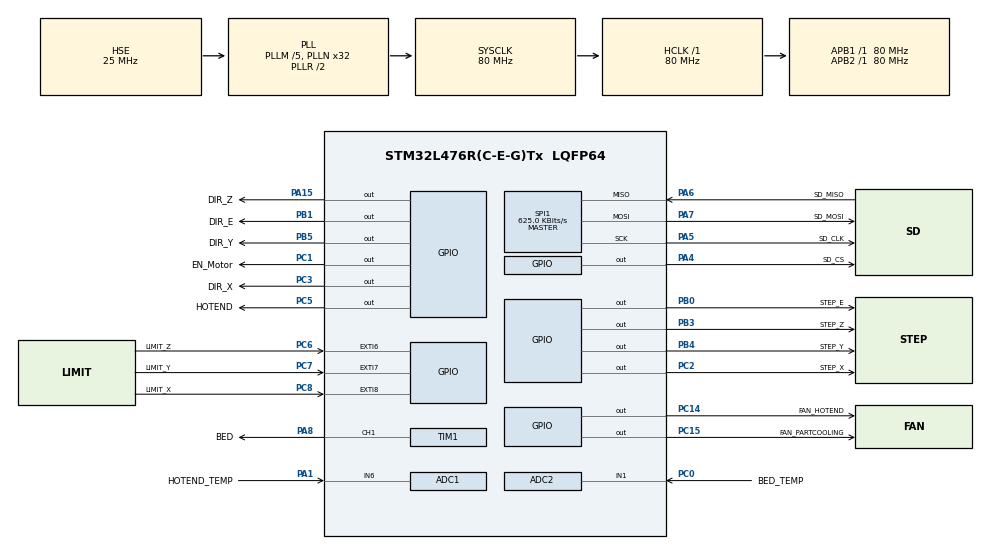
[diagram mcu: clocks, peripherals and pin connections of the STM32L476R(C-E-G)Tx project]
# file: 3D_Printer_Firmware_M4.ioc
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ADC1.Channel-1\#ChannelRegularConversion=ADC_CHANNEL_6
ADC1.ClockPrescaler=ADC_CLOCK_ASYNC_DIV4
ADC1.NbrOfConversionFlag=1
ADC1.OffsetNumber-1\#ChannelRegularConversion=ADC_OFFSET_NONE
ADC1.Rank-1\#ChannelRegularConversion=1
ADC1.SamplingTime-1\#ChannelRegularConversion=ADC_SAMPLETIME_2CYCLES_5
ADC1.master=1
ADC2.Channel-0\#ChannelRegularConversion=ADC_CHANNEL_1
ADC2.ClockPrescaler=ADC_CLOCK_ASYNC_DIV4
ADC2.NbrOfConversionFlag=1
ADC2.OffsetNumber-0\#ChannelRegularConversion=ADC_OFFSET_NONE
ADC2.Rank-0\#ChannelRegularConversion=1
ADC2.SamplingTime-0\#ChannelRegularConversion=ADC_SAMPLETIME_2CYCLES_5
FREERTOS.INCLUDE_xEventGroupSetBitFromISR=1
FREERTOS.INCLUDE_xTimerPendFunctionCall=1
FREERTOS.Tasks01=defaultTask,0,8192,StartDefaultTask,Default,NULL,Dynamic,NULL,NULL
FREERTOS.configENABLE_FPU=1
FREERTOS.configMAX_TASK_NAME_LEN=32
FREERTOS.configTOTAL_HEAP_SIZE=65536
FREERTOS.configUSE_NEWLIB_REENTRANT=1
FREERTOS.configUSE_TIMERS=1
Mcu.Family=STM32L4
Mcu.Name=STM32L476R(C-E-G)Tx
Mcu.Package=LQFP64
NVIC.EXTI9_5_IRQn=true\:6\:0\:true\:false\:true\:true\:true\:true\:true
NVIC.PriorityGroup=NVIC_PRIORITYGROUP_4
NVIC.TIM1_BRK_TIM15_IRQn=true\:6\:0\:true\:false\:true\:true\:true\:true\:true
NVIC.TIM1_CC_IRQn=true\:6\:0\:true\:false\:true\:true\:true\:true\:true
NVIC.TIM1_UP_TIM16_IRQn=true\:5\:0\:true\:false\:true\:true\:true\:true\:true
NVIC.TIM3_IRQn=true\:6\:0\:true\:false\:true\:true\:true\:true\:true
NVIC.TIM4_IRQn=true\:6\:0\:true\:false\:true\:true\:true\:true\:true
NVIC.TIM5_IRQn=true\:6\:0\:true\:false\:true\:true\:true\:true\:true
NVIC.TIM7_IRQn=true\:15\:0\:true\:false\:true\:false\:false\:true\:true
NVIC.TimeBase=TIM7_IRQn
NVIC.TimeBaseIP=TIM7
PA1.GPIO_Label=HOTEND_TEMP
PA1.Signal=ADCx_IN6
PA13\ (JTMS-SWDIO).Mode=Serial_Wire
PA13\ (JTMS-SWDIO).Signal=SYS_JTMS-SWDIO
PA14\ (JTCK-SWCLK).Mode=Serial_Wire
PA14\ (JTCK-SWCLK).Signal=SYS_JTCK-SWCLK
PA15\ (JTDI).GPIO_Label=DIR_Z
PA15\ (JTDI).Signal=GPIO_Output
PA4.GPIO_Label=SD_CS
PA4.Signal=GPIO_Output
PA5.GPIO_Label=SD_CLK
PA5.Mode=Full_Duplex_Master
PA5.Signal=SPI1_SCK
PA6.GPIO_Label=SD_MISO
PA6.Mode=Full_Duplex_Master
PA6.Signal=SPI1_MISO
PA7.GPIO_Label=SD_MOSI
PA7.Mode=Full_Duplex_Master
PA7.Signal=SPI1_MOSI
PA8.GPIO_Label=BED
PA8.Signal=S_TIM1_CH1
PB0.GPIO_Label=STEP_E
PB0.GPIO_Speed=GPIO_SPEED_FREQ_HIGH
PB0.Signal=GPIO_Output
PB1.GPIO_Label=DIR_E
PB1.Signal=GPIO_Output
PB3\ (JTDO-TRACESWO).GPIO_Label=STEP_Z
PB3\ (JTDO-TRACESWO).GPIO_Speed=GPIO_SPEED_FREQ_HIGH
PB3\ (JTDO-TRACESWO).Signal=GPIO_Output
PB4\ (NJTRST).GPIO_Label=STEP_Y
PB4\ (NJTRST).GPIO_Speed=GPIO_SPEED_FREQ_HIGH
PB4\ (NJTRST).Signal=GPIO_Output
PB5.GPIO_Label=DIR_Y
PB5.Signal=GPIO_Output
PC0.GPIO_Label=BED_TEMP
PC0.Signal=ADCx_IN1
PC1.GPIO_Label=EN_Motor
PC1.GPIO_PuPd=GPIO_PULLUP
PC1.PinState=GPIO_PIN_SET
PC1.Signal=GPIO_Output
PC14-OSC32_IN\ (PC14).GPIO_Label=FAN_HOTEND
PC14-OSC32_IN\ (PC14).Signal=GPIO_Output
PC15-OSC32_OUT\ (PC15).GPIO_Label=FAN_PARTCOOLING
PC15-OSC32_OUT\ (PC15).Signal=GPIO_Output
PC2.GPIO_Label=STEP_X
PC2.GPIO_Speed=GPIO_SPEED_FREQ_HIGH
PC2.Signal=GPIO_Output
PC3.GPIO_Label=DIR_X
PC3.Signal=GPIO_Output
PC5.GPIO_Label=HOTEND
PC5.Signal=GPIO_Output
PC6.GPIO_Label=LIMIT_Z
PC6.GPIO_ModeDefaultEXTI=GPIO_MODE_IT_FALLING
PC6.Signal=GPXTI6
PC7.GPIO_Label=LIMIT_Y
PC7.GPIO_ModeDefaultEXTI=GPIO_MODE_IT_FALLING
PC7.Signal=GPXTI7
PC8.GPIO_Label=LIMIT_X
PC8.GPIO_ModeDefaultEXTI=GPIO_MODE_IT_FALLING
PC8.Signal=GPXTI8
PH0-OSC_IN\ (PH0).Mode=HSE-External-Oscillator
PH0-OSC_IN\ (PH0).Signal=RCC_OSC_IN
PH1-OSC_OUT\ (PH1).Mode=HSE-External-Oscillator
PH1-OSC_OUT\ (PH1).Signal=RCC_OSC_OUT
ProjectManager.HeapSize=0x200
ProjectManager.StackSize=0x400
ProjectManager.TargetToolchain=STM32CubeIDE
RCC.ADCFreq_Value=32500000
RCC.AHBFreq_Value=80000000
RCC.APB1Freq_Value=80000000
RCC.APB1TimFreq_Value=80000000
RCC.APB2Freq_Value=80000000
RCC.APB2TimFreq_Value=80000000
RCC.CortexFreq_Value=80000000
RCC.HCLKFreq_Value=80000000
RCC.HSE_VALUE=25000000
RCC.HSI_VALUE=16000000
RCC.LSE_VALUE=32768
RCC.MSI_VALUE=4000000
RCC.PLLM=5
RCC.PLLN=32
RCC.PLLSAI1N=13
RCC.PLLSourceVirtual=RCC_PLLSOURCE_HSE
RCC.SYSCLKFreq_VALUE=80000000
RCC.SYSCLKSource=RCC_SYSCLKSOURCE_PLLCLK
RCC.USBFreq_Value=32500000
RCC.VCOOutputFreq_Value=160000000
SH.ADCx_IN1.0=ADC2_IN1,IN1-Single-Ended
SH.ADCx_IN6.0=ADC1_IN6,IN6-Single-Ended
SH.S_TIM1_CH1.0=TIM1_CH1,PWM Generation1 CH1
SPI1.BaudRatePrescaler=SPI_BAUDRATEPRESCALER_128
SPI1.CalculateBaudRate=625.0 KBits/s
SPI1.DataSize=SPI_DATASIZE_8BIT
SPI1.Direction=SPI_DIRECTION_2LINES
SPI1.Mode=SPI_MODE_MASTER
SPI1.VirtualType=VM_MASTER
TIM1.Channel-PWM\ Generation1\ CH1=TIM_CHANNEL_1
TIM1.Period=1000 - 1
TIM1.Prescaler=8000 - 1
TIM16.Channel=TIM_CHANNEL_1
TIM16.Period=4000 - 1
TIM3.Channel-PWM\ Generation1\ No\ Output=TIM_CHANNEL_1
TIM3.Period=1000 - 1
TIM3.Prescaler=80 - 1
TIM4.Channel-PWM\ Generation1\ No\ Output=TIM_CHANNEL_1
TIM4.Prescaler=1
TIM5.Channel-PWM\ Generation1\ No\ Output=TIM_CHANNEL_1
TIM5.Period=1000 - 1
TIM5.Prescaler=8000 - 1
VP_FATFS_VS_Generic.Mode=User_defined
VP_FREERTOS_VS_CMSIS_V1.Mode=CMSIS_V1
VP_SYS_VS_tim7.Mode=TIM7
VP_TIM16_VS_ClockSourceINT.Mode=Enable_Timer
VP_TIM16_VS_no_output1.Mode=Output Compare1 No Output
VP_TIM3_VS_no_output1.Mode=PWM Generation1 No Output
VP_TIM4_VS_no_output1.Mode=PWM Generation1 No Output
VP_TIM5_VS_no_output1.Mode=PWM Generation1 No Output
VP_TIM6_VS_ClockSourceINT.Mode=Enable_Timer
board=custom

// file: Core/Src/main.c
/* USER CODE BEGIN Header */
/**
  ******************************************************************************
  * @file           : main.c
  * @brief          : Main program body
  ******************************************************************************
  * @attention
  *
  * Copyright (c) 2023 STMicroelectronics.
  * All rights reserved.
  *
  * This software is licensed under terms that can be found in the LICENSE file
  * in the root directory of this software component.
  * If no LICENSE file comes with this software, it is provided AS-IS.
  *
  ******************************************************************************
  */
/* USER CODE END Header */
#include "main.h"
#include "cmsis_os.h"
#include "fatfs.h"

/* USER CODE BEGIN Includes */
#include <cpp_callback_wrap.h>
#include "FreeRTOS.h"
#include "task_creator.h"
/* USER CODE END Includes */

ADC_HandleTypeDef hadc1;
ADC_HandleTypeDef hadc2;

SPI_HandleTypeDef hspi1;

TIM_HandleTypeDef htim1;
TIM_HandleTypeDef htim3;
TIM_HandleTypeDef htim4;
TIM_HandleTypeDef htim5;
TIM_HandleTypeDef htim6;
TIM_HandleTypeDef htim16;

osThreadId defaultTaskHandle;

void SystemClock_Config(void);
void PeriphCommonClock_Config(void);
static void MX_GPIO_Init(void);
static void MX_ADC1_Init(void);
static void MX_ADC2_Init(void);
static void MX_SPI1_Init(void);
static void MX_TIM4_Init(void);
static void MX_TIM1_Init(void);
static void MX_TIM6_Init(void);
static void MX_TIM5_Init(void);
static void MX_TIM16_Init(void);
static void MX_TIM3_Init(void);
void StartDefaultTask(void const * argument);

/* USER CODE BEGIN 0 */
extern EventGroupHandle_t event_test;
/* USER CODE END 0 */

int main(void)
{

  /* MCU Configuration--------------------------------------------------------*/

  /* Reset of all peripherals, Initializes the Flash interface and the Systick. */
  HAL_Init();

  /* Configure the system clock */
  SystemClock_Config();

/* Configure the peripherals common clocks */
  PeriphCommonClock_Config();

  /* Initialize all configured peripherals */
  MX_GPIO_Init();
  MX_FATFS_Init();
  MX_ADC1_Init();
  MX_ADC2_Init();
  MX_SPI1_Init();
  MX_TIM4_Init();
  MX_TIM1_Init();
  MX_TIM6_Init();
  MX_TIM5_Init();
  MX_TIM16_Init();
  MX_TIM3_Init();

  /* Create the thread(s) */
  /* definition and creation of defaultTask */
  osThreadDef(defaultTask, StartDefaultTask, osPriorityNormal, 0, 8192);
  defaultTaskHandle = osThreadCreate(osThread(defaultTask), NULL);

  /* Start scheduler */
  osKernelStart();
  /* We should never get here as control is now taken by the scheduler */
  /* Infinite loop */
  while (1)
  {

  }
}

void SystemClock_Config(void)
{
  RCC_OscInitTypeDef RCC_OscInitStruct = {0};
  RCC_ClkInitTypeDef RCC_ClkInitStruct = {0};

  /** Configure the main internal regulator output voltage
  */
  if (HAL_PWREx_ControlVoltageScaling(PWR_REGULATOR_VOLTAGE_SCALE1) != HAL_OK)
  {
    Error_Handler();
  }

  /** Initializes the RCC Oscillators according to the specified parameters
  * in the RCC_OscInitTypeDef structure.
  */
  RCC_OscInitStruct.OscillatorType = RCC_OSCILLATORTYPE_HSE;
  RCC_OscInitStruct.HSEState = RCC_HSE_ON;
  RCC_OscInitStruct.PLL.PLLState = RCC_PLL_ON;
  RCC_OscInitStruct.PLL.PLLSource = RCC_PLLSOURCE_HSE;
  RCC_OscInitStruct.PLL.PLLM = 5;
  RCC_OscInitStruct.PLL.PLLN = 32;
  RCC_OscInitStruct.PLL.PLLP = RCC_PLLP_DIV7;
  RCC_OscInitStruct.PLL.PLLQ = RCC_PLLQ_DIV2;
  RCC_OscInitStruct.PLL.PLLR = RCC_PLLR_DIV2;
  if (HAL_RCC_OscConfig(&RCC_OscInitStruct) != HAL_OK)
  {
    Error_Handler();
  }

  /** Initializes the CPU, AHB and APB buses clocks
  */
  RCC_ClkInitStruct.ClockType = RCC_CLOCKTYPE_HCLK|RCC_CLOCKTYPE_SYSCLK
                              |RCC_CLOCKTYPE_PCLK1|RCC_CLOCKTYPE_PCLK2;
  RCC_ClkInitStruct.SYSCLKSource = RCC_SYSCLKSOURCE_PLLCLK;
  RCC_ClkInitStruct.AHBCLKDivider = RCC_SYSCLK_DIV1;
  RCC_ClkInitStruct.APB1CLKDivider = RCC_HCLK_DIV1;
  RCC_ClkInitStruct.APB2CLKDivider = RCC_HCLK_DIV1;

  if (HAL_RCC_ClockConfig(&RCC_ClkInitStruct, FLASH_LATENCY_4) != HAL_OK)
  {
    Error_Handler();
  }
}

void PeriphCommonClock_Config(void)
{
  RCC_PeriphCLKInitTypeDef PeriphClkInit = {0};

  /** Initializes the peripherals clock
  */
  PeriphClkInit.PeriphClockSelection = RCC_PERIPHCLK_ADC;
  PeriphClkInit.AdcClockSelection = RCC_ADCCLKSOURCE_PLLSAI1;
  PeriphClkInit.PLLSAI1.PLLSAI1Source = RCC_PLLSOURCE_HSE;
  PeriphClkInit.PLLSAI1.PLLSAI1M = 5;
  PeriphClkInit.PLLSAI1.PLLSAI1N = 13;
  PeriphClkInit.PLLSAI1.PLLSAI1P = RCC_PLLP_DIV7;
  PeriphClkInit.PLLSAI1.PLLSAI1Q = RCC_PLLQ_DIV2;
  PeriphClkInit.PLLSAI1.PLLSAI1R = RCC_PLLR_DIV2;
  PeriphClkInit.PLLSAI1.PLLSAI1ClockOut = RCC_PLLSAI1_ADC1CLK;
  if (HAL_RCCEx_PeriphCLKConfig(&PeriphClkInit) != HAL_OK)
  {
    Error_Handler();
  }
}

static void MX_ADC1_Init(void)
{

  ADC_MultiModeTypeDef multimode = {0};
  ADC_ChannelConfTypeDef sConfig = {0};

  /** Common config
  */
  hadc1.Instance = ADC1;
  hadc1.Init.ClockPrescaler = ADC_CLOCK_ASYNC_DIV4;
  hadc1.Init.Resolution = ADC_RESOLUTION_12B;
  hadc1.Init.DataAlign = ADC_DATAALIGN_RIGHT;
  hadc1.Init.ScanConvMode = ADC_SCAN_DISABLE;
  hadc1.Init.EOCSelection = ADC_EOC_SINGLE_CONV;
  hadc1.Init.LowPowerAutoWait = DISABLE;
  hadc1.Init.ContinuousConvMode = DISABLE;
  hadc1.Init.NbrOfConversion = 1;
  hadc1.Init.DiscontinuousConvMode = DISABLE;
  hadc1.Init.ExternalTrigConv = ADC_SOFTWARE_START;
  hadc1.Init.ExternalTrigConvEdge = ADC_EXTERNALTRIGCONVEDGE_NONE;
  hadc1.Init.DMAContinuousRequests = DISABLE;
  hadc1.Init.Overrun = ADC_OVR_DATA_PRESERVED;
  hadc1.Init.OversamplingMode = DISABLE;
  if (HAL_ADC_Init(&hadc1) != HAL_OK)
  {
    Error_Handler();
  }

  /** Configure the ADC multi-mode
  */
  multimode.Mode = ADC_MODE_INDEPENDENT;
  if (HAL_ADCEx_MultiModeConfigChannel(&hadc1, &multimode) != HAL_OK)
  {
    Error_Handler();
  }

  /** Configure Regular Channel
  */
  sConfig.Channel = ADC_CHANNEL_6;
  sConfig.Rank = ADC_REGULAR_RANK_1;
  sConfig.SamplingTime = ADC_SAMPLETIME_2CYCLES_5;
  sConfig.SingleDiff = ADC_SINGLE_ENDED;
  sConfig.OffsetNumber = ADC_OFFSET_NONE;
  sConfig.Offset = 0;
  if (HAL_ADC_ConfigChannel(&hadc1, &sConfig) != HAL_OK)
  {
    Error_Handler();
  }

}

static void MX_ADC2_Init(void)
{

  ADC_ChannelConfTypeDef sConfig = {0};

  /** Common config
  */
  hadc2.Instance = ADC2;
  hadc2.Init.ClockPrescaler = ADC_CLOCK_ASYNC_DIV4;
  hadc2.Init.Resolution = ADC_RESOLUTION_12B;
  hadc2.Init.DataAlign = ADC_DATAALIGN_RIGHT;
  hadc2.Init.ScanConvMode = ADC_SCAN_DISABLE;
  hadc2.Init.EOCSelection = ADC_EOC_SINGLE_CONV;
  hadc2.Init.LowPowerAutoWait = DISABLE;
  hadc2.Init.ContinuousConvMode = DISABLE;
  hadc2.Init.NbrOfConversion = 1;
  hadc2.Init.DiscontinuousConvMode = DISABLE;
  hadc2.Init.ExternalTrigConv = ADC_SOFTWARE_START;
  hadc2.Init.ExternalTrigConvEdge = ADC_EXTERNALTRIGCONVEDGE_NONE;
  hadc2.Init.DMAContinuousRequests = DISABLE;
  hadc2.Init.Overrun = ADC_OVR_DATA_PRESERVED;
  hadc2.Init.OversamplingMode = DISABLE;
  if (HAL_ADC_Init(&hadc2) != HAL_OK)
  {
    Error_Handler();
  }

  /** Configure Regular Channel
  */
  sConfig.Channel = ADC_CHANNEL_1;
  sConfig.Rank = ADC_REGULAR_RANK_1;
  sConfig.SamplingTime = ADC_SAMPLETIME_2CYCLES_5;
  sConfig.SingleDiff = ADC_SINGLE_ENDED;
  sConfig.OffsetNumber = ADC_OFFSET_NONE;
  sConfig.Offset = 0;
  if (HAL_ADC_ConfigChannel(&hadc2, &sConfig) != HAL_OK)
  {
    Error_Handler();
  }

}

static void MX_SPI1_Init(void)
{

  /* SPI1 parameter configuration*/
  hspi1.Instance = SPI1;
  hspi1.Init.Mode = SPI_MODE_MASTER;
  hspi1.Init.Direction = SPI_DIRECTION_2LINES;
  hspi1.Init.DataSize = SPI_DATASIZE_8BIT;
  hspi1.Init.CLKPolarity = SPI_POLARITY_LOW;
  hspi1.Init.CLKPhase = SPI_PHASE_1EDGE;
  hspi1.Init.NSS = SPI_NSS_SOFT;
  hspi1.Init.BaudRatePrescaler = SPI_BAUDRATEPRESCALER_128;
  hspi1.Init.FirstBit = SPI_FIRSTBIT_MSB;
  hspi1.Init.TIMode = SPI_TIMODE_DISABLE;
  hspi1.Init.CRCCalculation = SPI_CRCCALCULATION_DISABLE;
  hspi1.Init.CRCPolynomial = 7;
  hspi1.Init.CRCLength = SPI_CRC_LENGTH_DATASIZE;
  hspi1.Init.NSSPMode = SPI_NSS_PULSE_ENABLE;
  if (HAL_SPI_Init(&hspi1) != HAL_OK)
  {
    Error_Handler();
  }

}

static void MX_TIM1_Init(void)
{

  TIM_MasterConfigTypeDef sMasterConfig = {0};
  TIM_OC_InitTypeDef sConfigOC = {0};
  TIM_BreakDeadTimeConfigTypeDef sBreakDeadTimeConfig = {0};

  htim1.Instance = TIM1;
  htim1.Init.Prescaler = 8000 - 1;
  htim1.Init.CounterMode = TIM_COUNTERMODE_UP;
  htim1.Init.Period = 1000 - 1;
  htim1.Init.ClockDivision = TIM_CLOCKDIVISION_DIV1;
  htim1.Init.RepetitionCounter = 0;
  htim1.Init.AutoReloadPreload = TIM_AUTORELOAD_PRELOAD_DISABLE;
  if (HAL_TIM_PWM_Init(&htim1) != HAL_OK)
  {
    Error_Handler();
  }
  sMasterConfig.MasterOutputTrigger = TIM_TRGO_RESET;
  sMasterConfig.MasterOutputTrigger2 = TIM_TRGO2_RESET;
  sMasterConfig.MasterSlaveMode = TIM_MASTERSLAVEMODE_DISABLE;
  if (HAL_TIMEx_MasterConfigSynchronization(&htim1, &sMasterConfig) != HAL_OK)
  {
    Error_Handler();
  }
  sConfigOC.OCMode = TIM_OCMODE_PWM1;
  sConfigOC.Pulse = 0;
  sConfigOC.OCPolarity = TIM_OCPOLARITY_HIGH;
  sConfigOC.OCNPolarity = TIM_OCNPOLARITY_HIGH;
  sConfigOC.OCFastMode = TIM_OCFAST_DISABLE;
  sConfigOC.OCIdleState = TIM_OCIDLESTATE_RESET;
  sConfigOC.OCNIdleState = TIM_OCNIDLESTATE_RESET;
  if (HAL_TIM_PWM_ConfigChannel(&htim1, &sConfigOC, TIM_CHANNEL_1) != HAL_OK)
  {
    Error_Handler();
  }
  sBreakDeadTimeConfig.OffStateRunMode = TIM_OSSR_DISABLE;
  sBreakDeadTimeConfig.OffStateIDLEMode = TIM_OSSI_DISABLE;
  sBreakDeadTimeConfig.LockLevel = TIM_LOCKLEVEL_OFF;
  sBreakDeadTimeConfig.DeadTime = 0;
  sBreakDeadTimeConfig.BreakState = TIM_BREAK_DISABLE;
  sBreakDeadTimeConfig.BreakPolarity = TIM_BREAKPOLARITY_HIGH;
  sBreakDeadTimeConfig.BreakFilter = 0;
  sBreakDeadTimeConfig.Break2State = TIM_BREAK2_DISABLE;
  sBreakDeadTimeConfig.Break2Polarity = TIM_BREAK2POLARITY_HIGH;
  sBreakDeadTimeConfig.Break2Filter = 0;
  sBreakDeadTimeConfig.AutomaticOutput = TIM_AUTOMATICOUTPUT_DISABLE;
  if (HAL_TIMEx_ConfigBreakDeadTime(&htim1, &sBreakDeadTimeConfig) != HAL_OK)
  {
    Error_Handler();
  }
  HAL_TIM_MspPostInit(&htim1);

}

static void MX_TIM3_Init(void)
{

  TIM_MasterConfigTypeDef sMasterConfig = {0};
  TIM_OC_InitTypeDef sConfigOC = {0};

  htim3.Instance = TIM3;
  htim3.Init.Prescaler = 80 - 1;
  htim3.Init.CounterMode = TIM_COUNTERMODE_UP;
  htim3.Init.Period = 1000 - 1;
  htim3.Init.ClockDivision = TIM_CLOCKDIVISION_DIV1;
  htim3.Init.AutoReloadPreload = TIM_AUTORELOAD_PRELOAD_DISABLE;
  if (HAL_TIM_PWM_Init(&htim3) != HAL_OK)
  {
    Error_Handler();
  }
  sMasterConfig.MasterOutputTrigger = TIM_TRGO_RESET;
  sMasterConfig.MasterSlaveMode = TIM_MASTERSLAVEMODE_DISABLE;
  if (HAL_TIMEx_MasterConfigSynchronization(&htim3, &sMasterConfig) != HAL_OK)
  {
    Error_Handler();
  }
  sConfigOC.OCMode = TIM_OCMODE_PWM1;
  sConfigOC.Pulse = 0;
  sConfigOC.OCPolarity = TIM_OCPOLARITY_HIGH;
  sConfigOC.OCFastMode = TIM_OCFAST_DISABLE;
  if (HAL_TIM_PWM_ConfigChannel(&htim3, &sConfigOC, TIM_CHANNEL_1) != HAL_OK)
  {
    Error_Handler();
  }

}

static void MX_TIM4_Init(void)
{

  TIM_MasterConfigTypeDef sMasterConfig = {0};
  TIM_OC_InitTypeDef sConfigOC = {0};

  htim4.Instance = TIM4;
  htim4.Init.Prescaler = 1;
  htim4.Init.CounterMode = TIM_COUNTERMODE_UP;
  htim4.Init.Period = 65535;
  htim4.Init.ClockDivision = TIM_CLOCKDIVISION_DIV1;
  htim4.Init.AutoReloadPreload = TIM_AUTORELOAD_PRELOAD_DISABLE;
  if (HAL_TIM_PWM_Init(&htim4) != HAL_OK)
  {
    Error_Handler();
  }
  sMasterConfig.MasterOutputTrigger = TIM_TRGO_RESET;
  sMasterConfig.MasterSlaveMode = TIM_MASTERSLAVEMODE_DISABLE;
  if (HAL_TIMEx_MasterConfigSynchronization(&htim4, &sMasterConfig) != HAL_OK)
  {
    Error_Handler();
  }
  sConfigOC.OCMode = TIM_OCMODE_PWM1;
  sConfigOC.Pulse = 0;
  sConfigOC.OCPolarity = TIM_OCPOLARITY_HIGH;
  sConfigOC.OCFastMode = TIM_OCFAST_DISABLE;
  if (HAL_TIM_PWM_ConfigChannel(&htim4, &sConfigOC, TIM_CHANNEL_1) != HAL_OK)
  {
    Error_Handler();
  }

}

static void MX_TIM5_Init(void)
{

  TIM_MasterConfigTypeDef sMasterConfig = {0};
  TIM_OC_InitTypeDef sConfigOC = {0};

  htim5.Instance = TIM5;
  htim5.Init.Prescaler = 8000 - 1;
  htim5.Init.CounterMode = TIM_COUNTERMODE_UP;
  htim5.Init.Period = 1000 - 1;
  htim5.Init.ClockDivision = TIM_CLOCKDIVISION_DIV1;
  htim5.Init.AutoReloadPreload = TIM_AUTORELOAD_PRELOAD_DISABLE;
  if (HAL_TIM_PWM_Init(&htim5) != HAL_OK)
  {
    Error_Handler();
  }
  sMasterConfig.MasterOutputTrigger = TIM_TRGO_RESET;
  sMasterConfig.MasterSlaveMode = TIM_MASTERSLAVEMODE_DISABLE;
  if (HAL_TIMEx_MasterConfigSynchronization(&htim5, &sMasterConfig) != HAL_OK)
  {
    Error_Handler();
  }
  sConfigOC.OCMode = TIM_OCMODE_PWM1;
  sConfigOC.Pulse = 0;
  sConfigOC.OCPolarity = TIM_OCPOLARITY_HIGH;
  sConfigOC.OCFastMode = TIM_OCFAST_DISABLE;
  if (HAL_TIM_PWM_ConfigChannel(&htim5, &sConfigOC, TIM_CHANNEL_1) != HAL_OK)
  {
    Error_Handler();
  }

}

static void MX_TIM6_Init(void)
{

  TIM_MasterConfigTypeDef sMasterConfig = {0};

  htim6.Instance = TIM6;
  htim6.Init.Prescaler = 0;
  htim6.Init.CounterMode = TIM_COUNTERMODE_UP;
  htim6.Init.Period = 65535;
  htim6.Init.AutoReloadPreload = TIM_AUTORELOAD_PRELOAD_DISABLE;
  if (HAL_TIM_Base_Init(&htim6) != HAL_OK)
  {
    Error_Handler();
  }
  sMasterConfig.MasterOutputTrigger = TIM_TRGO_RESET;
  sMasterConfig.MasterSlaveMode = TIM_MASTERSLAVEMODE_DISABLE;
  if (HAL_TIMEx_MasterConfigSynchronization(&htim6, &sMasterConfig) != HAL_OK)
  {
    Error_Handler();
  }

}

static void MX_TIM16_Init(void)
{

  TIM_OC_InitTypeDef sConfigOC = {0};
  TIM_BreakDeadTimeConfigTypeDef sBreakDeadTimeConfig = {0};

  htim16.Instance = TIM16;
  htim16.Init.Prescaler = 0;
  htim16.Init.CounterMode = TIM_COUNTERMODE_UP;
  htim16.Init.Period = 4000 - 1;
  htim16.Init.ClockDivision = TIM_CLOCKDIVISION_DIV1;
  htim16.Init.RepetitionCounter = 0;
  htim16.Init.AutoReloadPreload = TIM_AUTORELOAD_PRELOAD_DISABLE;
  if (HAL_TIM_Base_Init(&htim16) != HAL_OK)
  {
    Error_Handler();
  }
  if (HAL_TIM_OC_Init(&htim16) != HAL_OK)
  {
    Error_Handler();
  }
  sConfigOC.OCMode = TIM_OCMODE_TIMING;
  sConfigOC.Pulse = 0;
  sConfigOC.OCPolarity = TIM_OCPOLARITY_HIGH;
  sConfigOC.OCNPolarity = TIM_OCNPOLARITY_HIGH;
  sConfigOC.OCFastMode = TIM_OCFAST_DISABLE;
  sConfigOC.OCIdleState = TIM_OCIDLESTATE_RESET;
  sConfigOC.OCNIdleState = TIM_OCNIDLESTATE_RESET;
  if (HAL_TIM_OC_ConfigChannel(&htim16, &sConfigOC, TIM_CHANNEL_1) != HAL_OK)
  {
    Error_Handler();
  }
  sBreakDeadTimeConfig.OffStateRunMode = TIM_OSSR_DISABLE;
  sBreakDeadTimeConfig.OffStateIDLEMode = TIM_OSSI_DISABLE;
  sBreakDeadTimeConfig.LockLevel = TIM_LOCKLEVEL_OFF;
  sBreakDeadTimeConfig.DeadTime = 0;
  sBreakDeadTimeConfig.BreakState = TIM_BREAK_DISABLE;
  sBreakDeadTimeConfig.BreakPolarity = TIM_BREAKPOLARITY_HIGH;
  sBreakDeadTimeConfig.AutomaticOutput = TIM_AUTOMATICOUTPUT_DISABLE;
  if (HAL_TIMEx_ConfigBreakDeadTime(&htim16, &sBreakDeadTimeConfig) != HAL_OK)
  {
    Error_Handler();
  }

}

static void MX_GPIO_Init(void)
{
  GPIO_InitTypeDef GPIO_InitStruct = {0};

  /* GPIO Ports Clock Enable */
  __HAL_RCC_GPIOC_CLK_ENABLE();
  __HAL_RCC_GPIOH_CLK_ENABLE();
  __HAL_RCC_GPIOA_CLK_ENABLE();
  __HAL_RCC_GPIOB_CLK_ENABLE();

  /*Configure GPIO pin Output Level */
  HAL_GPIO_WritePin(GPIOC, FAN_HOTEND_Pin|FAN_PARTCOOLING_Pin|STEP_X_Pin|DIR_X_Pin
                          |HOTEND_Pin, GPIO_PIN_RESET);

  /*Configure GPIO pin Output Level */
  HAL_GPIO_WritePin(EN_Motor_GPIO_Port, EN_Motor_Pin, GPIO_PIN_SET);

  /*Configure GPIO pin Output Level */
  HAL_GPIO_WritePin(GPIOA, SD_CS_Pin|DIR_Z_Pin, GPIO_PIN_RESET);

  /*Configure GPIO pin Output Level */
  HAL_GPIO_WritePin(GPIOB, STEP_E_Pin|DIR_E_Pin|STEP_Z_Pin|STEP_Y_Pin
                          |DIR_Y_Pin, GPIO_PIN_RESET);

  /*Configure GPIO pins : FAN_HOTEND_Pin FAN_PARTCOOLING_Pin DIR_X_Pin HOTEND_Pin */
  GPIO_InitStruct.Pin = FAN_HOTEND_Pin|FAN_PARTCOOLING_Pin|DIR_X_Pin|HOTEND_Pin;
  GPIO_InitStruct.Mode = GPIO_MODE_OUTPUT_PP;
  GPIO_InitStruct.Pull = GPIO_NOPULL;
  GPIO_InitStruct.Speed = GPIO_SPEED_FREQ_LOW;
  HAL_GPIO_Init(GPIOC, &GPIO_InitStruct);

  /*Configure GPIO pin : EN_Motor_Pin */
  GPIO_InitStruct.Pin = EN_Motor_Pin;
  GPIO_InitStruct.Mode = GPIO_MODE_OUTPUT_PP;
  GPIO_InitStruct.Pull = GPIO_PULLUP;
  GPIO_InitStruct.Speed = GPIO_SPEED_FREQ_LOW;
  HAL_GPIO_Init(EN_Motor_GPIO_Port, &GPIO_InitStruct);

  /*Configure GPIO pin : STEP_X_Pin */
  GPIO_InitStruct.Pin = STEP_X_Pin;
  GPIO_InitStruct.Mode = GPIO_MODE_OUTPUT_PP;
  GPIO_InitStruct.Pull = GPIO_NOPULL;
  GPIO_InitStruct.Speed = GPIO_SPEED_FREQ_HIGH;
  HAL_GPIO_Init(STEP_X_GPIO_Port, &GPIO_InitStruct);

  /*Configure GPIO pins : SD_CS_Pin DIR_Z_Pin */
  GPIO_InitStruct.Pin = SD_CS_Pin|DIR_Z_Pin;
  GPIO_InitStruct.Mode = GPIO_MODE_OUTPUT_PP;
  GPIO_InitStruct.Pull = GPIO_NOPULL;
  GPIO_InitStruct.Speed = GPIO_SPEED_FREQ_LOW;
  HAL_GPIO_Init(GPIOA, &GPIO_InitStruct);

  /*Configure GPIO pins : STEP_E_Pin STEP_Z_Pin STEP_Y_Pin */
  GPIO_InitStruct.Pin = STEP_E_Pin|STEP_Z_Pin|STEP_Y_Pin;
  GPIO_InitStruct.Mode = GPIO_MODE_OUTPUT_PP;
  GPIO_InitStruct.Pull = GPIO_NOPULL;
  GPIO_InitStruct.Speed = GPIO_SPEED_FREQ_HIGH;
  HAL_GPIO_Init(GPIOB, &GPIO_InitStruct);

  /*Configure GPIO pins : DIR_E_Pin DIR_Y_Pin */
  GPIO_InitStruct.Pin = DIR_E_Pin|DIR_Y_Pin;
  GPIO_InitStruct.Mode = GPIO_MODE_OUTPUT_PP;
  GPIO_InitStruct.Pull = GPIO_NOPULL;
  GPIO_InitStruct.Speed = GPIO_SPEED_FREQ_LOW;
  HAL_GPIO_Init(GPIOB, &GPIO_InitStruct);

  /*Configure GPIO pins : LIMIT_Z_Pin LIMIT_Y_Pin LIMIT_X_Pin */
  GPIO_InitStruct.Pin = LIMIT_Z_Pin|LIMIT_Y_Pin|LIMIT_X_Pin;
  GPIO_InitStruct.Mode = GPIO_MODE_IT_FALLING;
  GPIO_InitStruct.Pull = GPIO_NOPULL;
  HAL_GPIO_Init(GPIOC, &GPIO_InitStruct);

  /* EXTI interrupt init*/
  HAL_NVIC_SetPriority(EXTI9_5_IRQn, 6, 0);
  HAL_NVIC_EnableIRQ(EXTI9_5_IRQn);

}

/* USER CODE BEGIN 4 */
void HAL_TIM_PWM_PulseFinishedCallback(TIM_HandleTypeDef *htim) {
	cpp_wrap_heater_pwm_callback(htim);
	cpp_wrap_fan_pwm_callback(htim);
}

void HAL_GPIO_EXTI_Callback(uint16_t GPIO_Pin) {
	cpp_wrap_limit_switch_callback(GPIO_Pin);
}
/* USER CODE END 4 */

void StartDefaultTask(void const * argument)
{
  /* USER CODE BEGIN 5 */
  /* Infinite loop */
	cpp_wrap_task_creator(NULL);
	vTaskDelete(NULL);
  /* USER CODE END 5 */
}

void HAL_TIM_PeriodElapsedCallback(TIM_HandleTypeDef *htim)
{
  if (htim->Instance == TIM7) {
    HAL_IncTick();
  }
  /* USER CODE BEGIN Callback 1 */
  else if (htim->Instance == TIM16) {
	  callback_motor(htim);
  }
  else {
	  cpp_wrap_heater_timer_callback(htim);
	  cpp_wrap_fan_timer_callback(htim);
  }
  /* USER CODE END Callback 1 */
}

void Error_Handler(void)
{
  __disable_irq();
  while (1)
  {
  }
}
